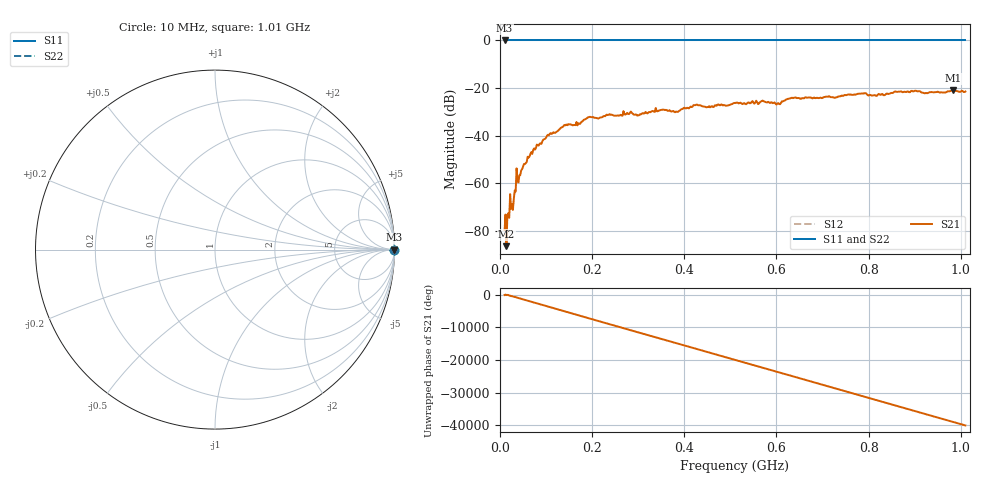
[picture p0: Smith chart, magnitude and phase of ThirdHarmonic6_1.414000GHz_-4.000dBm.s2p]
! 8/16/2025 4:13:21 PM
! C:\ANRITSUVNA\TEMP\TEMP.S2P
! CHANNEL.1
! TR.MEASUREMENT
! RAW.DATA
! RF.CORRECTION.OFF
! AVERAGING.OFF
! IF.BANDWIDTH: 5KHZ
! SWEEPTYPE:  FREQ.SWEEP(Linear)
! Reference Plane Port Info
! PORT:  PORT1  PORT2
! DISTANCE:  0  m  0  m
! TIME:  0  s  0  s
! PHASE.OFFSET:  0  deg.  0  deg.
! LOSS:  0  dB  0  dB
! REF.LOSS:  0  dB  0  dB
! REF.FREQ:  0  Hz  0  Hz
! Power Info
! POWER:  -20  dBm  -20  dBm
! EFF.POWER:  -20  dBm  -20  dBm
! SOURCE.ATTEN:  0  dB  0  dB
! TEST.ATTEN:  0  dB  0  dB
# GHZ S RI R 50.0
! FREQ.GHZ  S11RE  S11IM  S21RE  S21IM  S12RE  S12IM  S22RE  S22IM
!; PortSelection: Port_12
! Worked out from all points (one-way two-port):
!   501 points, 10 MHz to 1.01 GHz, reference 50 ohm
!   highest |S21| = -20.98 dB at 984 MHz (marker M1); lowest = -86.4 dB at 14 MHz (marker M2)
!   lowest |S11| = 0.0 dB at 10 MHz (marker M3)
!   |S11| at or under -10 dB: nowhere
!   |S22| runs from 0.0 to 0.0 dB; largest |S21 - S12| = 1.1
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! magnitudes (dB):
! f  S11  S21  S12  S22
! 10 MHz  0.0  -79.6  0.0  0.0
! 14 MHz  0.0  -86.4  0.0  0.0
! 20 MHz  0.0  -74.5  0.0  0.0
! 28 MHz  0.0  -71.2  0.0  0.0
! 34 MHz  0.0  -63.5  0.0  0.0
! 40 MHz  0.0  -59.7  0.0  0.0
! 70 MHz  0.0  -47.6  0.0  0.0
! 106 MHz  0.0  -39.8  0.0  0.0
! 142 MHz  0.0  -35.6  0.0  0.0
! 178 MHz  0.0  -34.0  0.0  0.0
! 194 MHz  0.0  -32.1  0.0  0.0
! 344 MHz  0.0  -29.5  0.0  0.0
! 382 MHz  0.0  -29.8  0.0  0.0
! 424 MHz  0.0  -27.2  0.0  0.0
! 452 MHz  0.0  -28.0  0.0  0.0
! 510 MHz  0.0  -26.2  0.0  0.0
! 604 MHz  0.0  -26.3  0.0  0.0
! 630 MHz  0.0  -24.3  0.0  0.0
! 678 MHz  0.0  -24.3  0.0  0.0
! 844 MHz  0.0  -22.4  0.0  0.0
! 984 MHz  0.0  -21.0  0.0  0.0
! 1.01 GHz  0.0  -21.4  0.0  0.0
